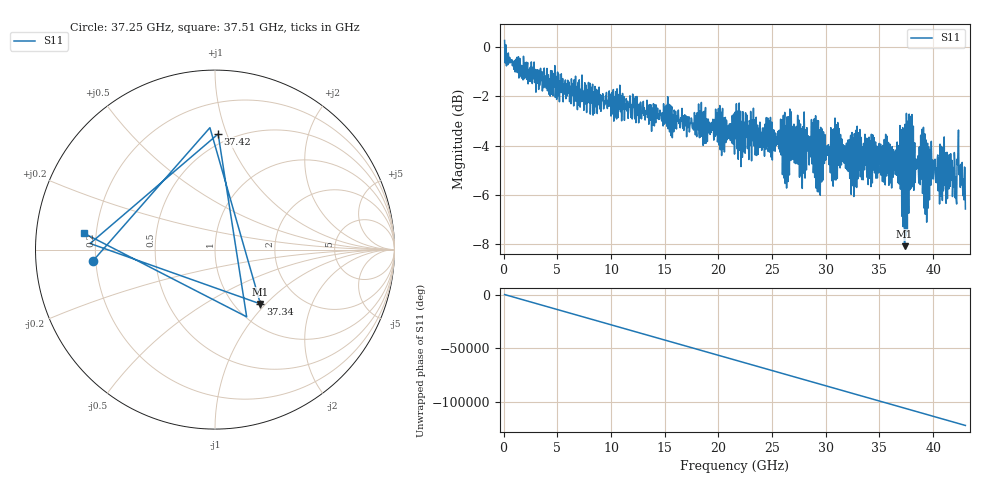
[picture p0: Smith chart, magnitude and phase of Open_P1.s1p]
# Hz S RI R 50.000000
! Metas.Vna.Tools, 2.9.9438.25149
! Metas.Vna.Data, 2.9.9438.25100
! Created: UTC 2026.07.01 05:48:45
! FREQ  re:S1,1  im:S1,1
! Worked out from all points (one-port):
!   1001 points, 100 MHz to 43 GHz, reference 50 ohm
!   lowest |S11| = -8.1 dB at 37.34 GHz (marker M1), VSWR 2.30, Z = 65 - j46.6 ohm
!   |S11| at or under -10 dB: nowhere
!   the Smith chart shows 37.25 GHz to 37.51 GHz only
!   S11 on the Smith chart (normalised r, x): 37.25 GHz: 0.19, -0.04; 37.34 GHz: 1.30, -0.93; 37.42 GHz: 0.42, +0.93; 37.51 GHz: 0.15, +0.06
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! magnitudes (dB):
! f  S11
! 100 MHz  0.3
! 357.4 MHz  -0.3
! 1.13 GHz  -0.5
! 5.463 GHz  -1.9
! 10.82 GHz  -1.6
! 16.19 GHz  -3.0
! 21.55 GHz  -2.7
! 26.91 GHz  -3.2
! 32.27 GHz  -3.9
! 36.99 GHz  -4.4
! 37.08 GHz  -6.9
! 37.12 GHz  -3.9
! 37.21 GHz  -7.3
! 37.25 GHz  -3.3
! 37.34 GHz  -8.1
! 37.42 GHz  -3.8
! 37.47 GHz  -7.7
! 37.51 GHz  -2.7
! 37.59 GHz  -7.5
! 37.64 GHz  -3.0
! 37.98 GHz  -5.1
! 39.35 GHz  -3.8
! 39.65 GHz  -6.2
! 41.03 GHz  -3.7
! 41.46 GHz  -5.8
! 41.97 GHz  -4.3
! 42.44 GHz  -4.9
! 43 GHz  -6.6
